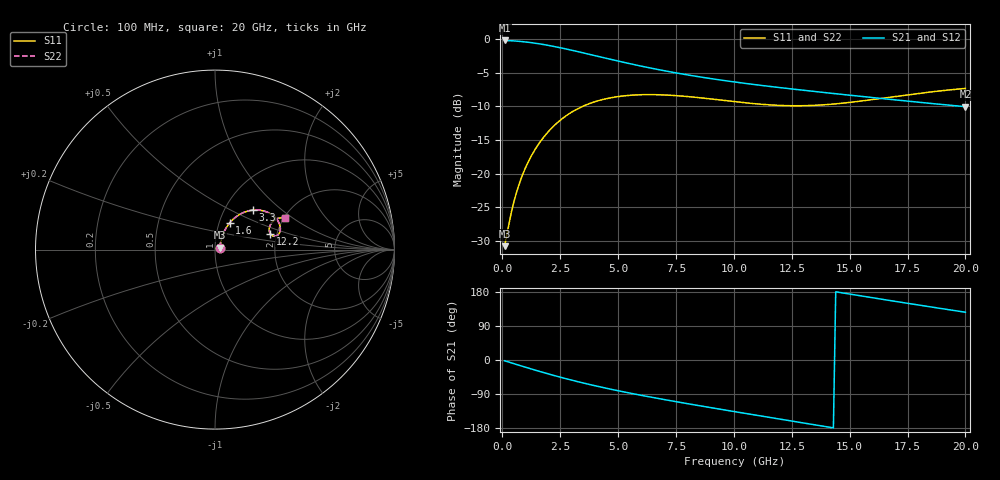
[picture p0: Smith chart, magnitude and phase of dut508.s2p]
! Touchstone file exported from HFSS 2024.1.0
!  File:  C:/UserFiles/LocalFiles/RDL_TSV_Batchsim/temp_RDL_TSV_508_1779739016.aedt
!  Generated:  04:12:14 AM May 26, 2026
!  Design:  RDL_TSV
!  Project:  temp_RDL_TSV_508_1779739016
!  Setup:  Setup1
!  Solution:  Sweep
! Variables:
!  dtsv = 8.57um
!  hbump = 3um
!  htsv = 55.67um
!  ldown = 641.17um
!  lrdl = 435.99um
!  p = 40
!  p1 = 47.9um
!  rhole = 10um
!  subl = 3667.47um
!  t = 450um
!  tdown = 3.39um
!  trdl = 3.84um
!  viad = 10um
!  wdown = 15.71um
!  wrdl = 11.41um
!  xbump = 18um
# GHz S MA R 50.000000
! Terminal data exported
! Port[1] = TM1_1_T1
! Port[2] = TM1_4_T1
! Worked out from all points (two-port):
!   200 points, 100 MHz to 20 GHz, reference 50 ohm
!   highest |S21| = -0.24 dB at 100 MHz (marker M1); lowest = -10.1 dB at 20 GHz (marker M2)
!   |S21| within 3 dB of the highest: start of sweep to 4.933 GHz
!   lowest |S11| = -30.7 dB at 100 MHz (marker M3), VSWR 1.06, Z = 52.8 + j1.15 ohm
!   |S11| at or under -10 dB: start of sweep to 3.479 GHz
!   |S22| runs from -30.7 to -7.3 dB; largest |S21 - S12| = 1.2e-14
!   S11 on the Smith chart (normalised r, x): 100 MHz: 1.06, +0.02; 1.6 GHz: 1.12, +0.34; 3.3 GHz: 1.36, +0.66; 12.2 GHz: 1.84, +0.37; 20 GHz: 2.03, +0.88
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0.1  0.02904 22.0  0.9731 -2.0  0.9731 -2.0  0.02904 22.0
! Gamma 0 0 0 0
! Port Impedance 50 0 50 0
0.4  0.05251 52.9  0.9681 -7.8  0.9681 -7.8  0.05251 52.9
0.7  0.08104 60.8  0.9598 -13.5  0.9598 -13.5  0.08103 60.8
1.1  0.1203 63.0  0.9443 -20.9  0.9443 -20.9  0.1203 63.0
1.6  0.169 61.2  0.9186 -30.0  0.9186 -30.0  0.169 61.3
2  0.2063 58.3  0.894 -36.9  0.894 -36.9  0.2063 58.3
2.4  0.241 54.7  0.8668 -43.7  0.8668 -43.7  0.241 54.8
2.8  0.2722 50.9  0.8381 -50.1  0.8381 -50.1  0.2723 51.0
3.3  0.3058 46.0  0.8014 -57.8  0.8014 -57.8  0.306 46.0
3.5  0.3174 44.0  0.7868 -60.8  0.7868 -60.8  0.3176 44.1
4.2  0.3501 37.5  0.7371 -70.6  0.7371 -70.6  0.3503 37.6
5.1  0.3753 30.1  0.6786 -82.4  0.6786 -82.4  0.3756 30.2
5.9  0.3848 24.6  0.633 -92.0  0.633 -92.0  0.3852 24.7
6.8  0.3849 19.6  0.5888 -102.3  0.5888 -102.3  0.3854 19.7
8.4  0.3679 14.0  0.5266 -119.5  0.5266 -119.5  0.3685 14.1
10.1  0.3414 12.5  0.4772 -136.9  0.4772 -136.9  0.3421 12.6
12.2  0.32 16.2  0.4309 -158.1  0.4309 -158.1  0.3208 16.3
13.4  0.3209 19.8  0.4088 -170.1  0.4088 -170.1  0.3216 19.9
15  0.3379 24.1  0.3822 174.0  0.3822 174.0  0.3386 24.2
16.7  0.3687 26.3  0.3566 157.3  0.3566 157.3  0.3694 26.3
18.3  0.4003 26.1  0.3348 142.0  0.3348 142.0  0.401 26.2
20  0.4291 24.3  0.3142 126.1  0.3142 126.1  0.4299 24.3
